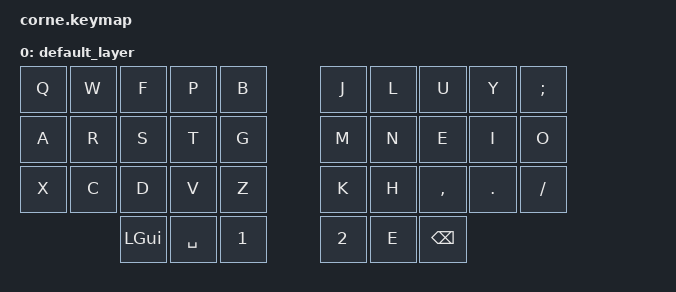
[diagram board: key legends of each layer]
/*
 * Copyright (c) 2020 The ZMK Contributors
 *
 * SPDX-License-Identifier: MIT
 */

#include <behaviors.dtsi>
#include <dt-bindings/zmk/keys.h>
#include <dt-bindings/zmk/bt.h>

/ {
        keymap {
                compatible = "zmk,keymap";

                default_layer {
                        bindings = <
   &kp Q &kp W &kp F &kp P &kp B   &kp J &kp L  &kp U     &kp Y   &kp SEMI  
   &kp A &kp R &kp S &kp T &kp G   &kp M &kp N  &kp E     &kp I   &kp O
   &kp X &kp C &kp D &kp V &kp Z   &kp K &kp H  &kp COMMA &kp DOT &kp FSLH 
        &kp LGUI &kp SPACE &kp 1   &kp 2 &kp E  &kp BSPC 
                        >;
                };
        };
};
